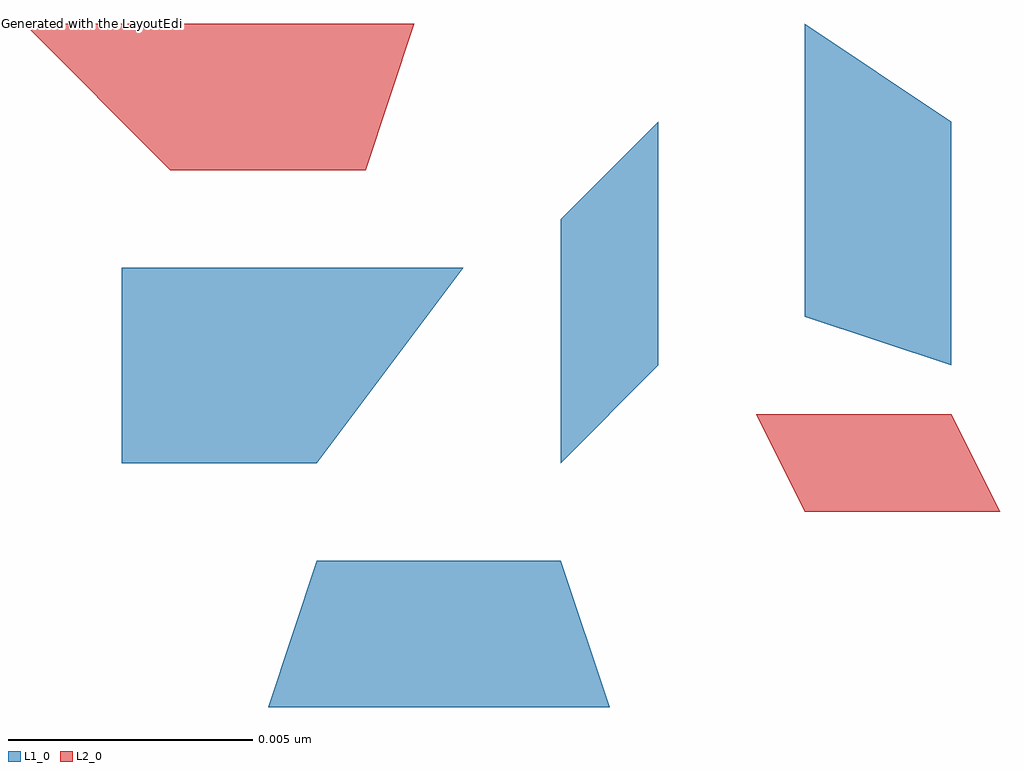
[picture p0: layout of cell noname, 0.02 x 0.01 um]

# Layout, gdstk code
import gdstk
lib = gdstk.Library(unit=1e-6, precision=1e-09)
def P(c, l, *ps):  # polygons
    for p in ps: c.add(gdstk.Polygon(p, *l))
L1_0 = (1, 0)
L2_0 = (2, 0)

noname = lib.new_cell('noname')
P(noname, L1_0, [(28.81,-17.702),(28.81,-17.696),(28.813,-17.698),(28.813,-17.703)],
  [(28.796,-17.701),(28.803,-17.701),(28.8,-17.705),(28.796,-17.705)],
  [(28.805,-17.705),(28.805,-17.7),(28.807,-17.698),(28.807,-17.703)],
  [(28.8,-17.707),(28.805,-17.707),(28.806,-17.71),(28.799,-17.71)])
P(noname, L2_0, [(28.809,-17.704),(28.813,-17.704),(28.814,-17.706),(28.81,-17.706)],
  [(28.794,-17.696),(28.802,-17.696),(28.801,-17.699),(28.797,-17.699)])
noname.add(gdstk.Label('Generated with the LayoutEditor (This message will NOT be added by any commercial version of the LayoutEditor.)', (28.794,-17.696), layer=1, texttype=13476))

lib.write_gds('noname.gds')
